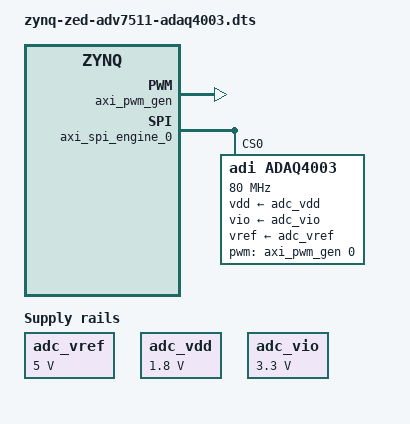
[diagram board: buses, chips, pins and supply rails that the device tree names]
// SPDX-License-Identifier: GPL-2.0
/*
 * Analog Devices ADAQ4003
 * https://wiki.analog.com/resources/tools-software/linux-drivers/iio-adc/ad400x
 * https://wiki.analog.com/resources/eval/user-guides/ad400x
 *
 * hdl_project: <pulsar_adc/zed>
 * board_revision: <>
 *
 * Copyright (C) 2016-2024 Analog Devices Inc.
 */
/dts-v1/;

#include "zynq-zed.dtsi"
#include "zynq-zed-adv7511.dtsi"

/ {
	adc_vref: regulator-vref {
		compatible = "regulator-fixed";
		regulator-name = "EVAL 5V Vref";
		regulator-min-microvolt = <5000000>;
		regulator-max-microvolt = <5000000>;
		regulator-always-on;
	};

	adc_vdd: regulator-vdd {
		compatible = "regulator-fixed";
		regulator-name = "Eval VDD supply";
		regulator-min-microvolt = <1800000>;
		regulator-max-microvolt = <1800000>;
		regulator-always-on;
	};

	adc_vio: regulator-vio {
		compatible = "regulator-fixed";
		regulator-name = "Eval VIO supply";
		regulator-min-microvolt = <3300000>;
		regulator-max-microvolt = <3300000>;
		regulator-always-on;
	};
};

&fpga_axi {
	rx_dma: rx-dmac@44a30000 {
		compatible = "adi,axi-dmac-1.00.a";
		reg = <0x44a30000 0x1000>;
		#dma-cells = <1>;
		interrupt-parent = <&intc>;
		interrupts = <0 57 IRQ_TYPE_LEVEL_HIGH>;
		clocks = <&clkc 17>;

		adi,channels {
			#size-cells = <0>;
			#address-cells = <1>;

			dma-channel@0 {
				reg = <0>;
				adi,source-bus-width = <32>;
				adi,source-bus-type = <1>;
				adi,destination-bus-width = <64>;
				adi,destination-bus-type = <0>;
			};
		};
	};

	axi_pwm_gen: axi-pwm-gen@44b00000 {
		compatible = "adi,axi-pwmgen";
		reg = <0x44b00000 0x1000>;
		label = "adc_conversion_trigger";
		#pwm-cells = <2>;
		clocks = <&spi_clk>;
	};

	spi_clk: axi-clkgen@44a70000 {
		compatible = "adi,axi-clkgen-2.00.a";
		reg = <0x44a70000 0x10000>;
		#clock-cells = <0>;
		clocks = <&clkc 15>, <&clkc 15>;
		clock-names = "s_axi_aclk", "clkin1";
		clock-output-names = "spi_clk";
	};

	axi_spi_engine_0: spi@44a00000 {
		compatible = "adi,axi-spi-engine-1.00.a";
		reg = <0x44a00000 0x1000>;
		interrupt-parent = <&intc>;
		interrupts = <0 56 IRQ_TYPE_LEVEL_HIGH>;
		clocks = <&clkc 15 &spi_clk>;
		clock-names = "s_axi_aclk", "spi_clk";
		num-cs = <1>;

		#address-cells = <0x1>;
		#size-cells = <0x0>;

		adaq4003: adc@0 {
			compatible = "adi,adaq4003";
			reg = <0>;
			spi-max-frequency = <80000000>;
			vdd-supply = <&adc_vdd>;
			vio-supply = <&adc_vio>;
			vref-supply = <&adc_vref>;
			dmas = <&rx_dma 0>;
			dma-names = "rx";
			clocks = <&spi_clk>;
			clock-names = "ref_clk";
			pwms = <&axi_pwm_gen 0 0>;
			pwm-names = "cnv";
			adi,high-z-input;
			adi,gain-milli = /bits/ 16 <454>;
		};
	};
};
